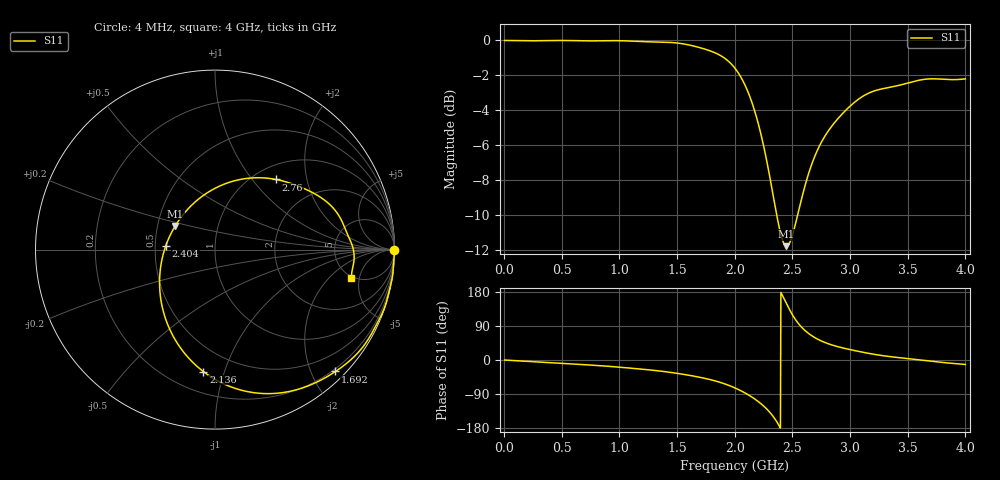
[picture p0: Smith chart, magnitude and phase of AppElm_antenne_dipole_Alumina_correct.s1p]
! TOUCHSTONE file generated by CST MICROWAVE STUDIO
! Date and time: Fri May 13 22:55:10 2022
! Project name: AppElm_antenne_dipole_Alumina.cst
! Parameters = {L=33; e=0.035; f=2.45e+09; h=1.6; i=0.8; l1=2; lambda=122.449; ls=30; wl=1.7; ws=80}
! Header version: 2018
! Port assignment regex: !\s*Touchstone port\s*([0-9]+)\s*=\s*(CST MWS port|CST DS port)\s*([0-9]+|Zmin|Zmax)\s*\(\"(.*)\"\)(\s*mode\s*([0-9]+))?.*
! Touchstone port assignment:
! Touchstone port 1 = CST MWS port 1 ("")
# GHz S MA R 50
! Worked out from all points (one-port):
!   1000 points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, 4 MHz to 4 GHz, reference 50 ohm
!   lowest |S11| = -11.8 dB at 2.448 GHz (marker M1), VSWR 1.70, Z = 30.9 + j8.75 ohm
!   |S11| at or under -10 dB: 2.364 GHz to 2.545 GHz (180.2 MHz wide, 7.34 % of centre)
!   S11 on the Smith chart (normalised r, x): 4 MHz: open; 1.692 GHz: 0.16, -2.39; 2.136 GHz: 0.33, -0.85; 2.404 GHz: 0.57, +0.02; 2.76 GHz: 1.24, +1.33; 4 GHz: 4.82, -3.83
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0.004  1 -0.1
0.504  1 -8.7
1.004  0.9984 -19.1
1.32  0.9902 -28.0
1.504  0.983 -35.4
1.692  0.9548 -45.3
1.784  0.9343 -51.5
1.86  0.9115 -57.8
1.94  0.8751 -66.0
2.004  0.8309 -74.0
2.072  0.7648 -84.1
2.136  0.6831 -95.4
2.212  0.5646 -111.6
2.276  0.4546 -128.9
2.34  0.3499 -151.9
2.404  0.2753 175.9
2.448  0.2581 149.2
2.504  0.2802 117.3
2.56  0.332 93.2
2.62  0.3955 74.9
2.684  0.4577 61.0
2.76  0.518 49.0
2.864  0.5814 37.7
3.004  0.6507 27.2
3.204  0.7161 15.2
3.504  0.7561 3.7
3.684  0.7763 -2.7
4  0.7765 -11.7
